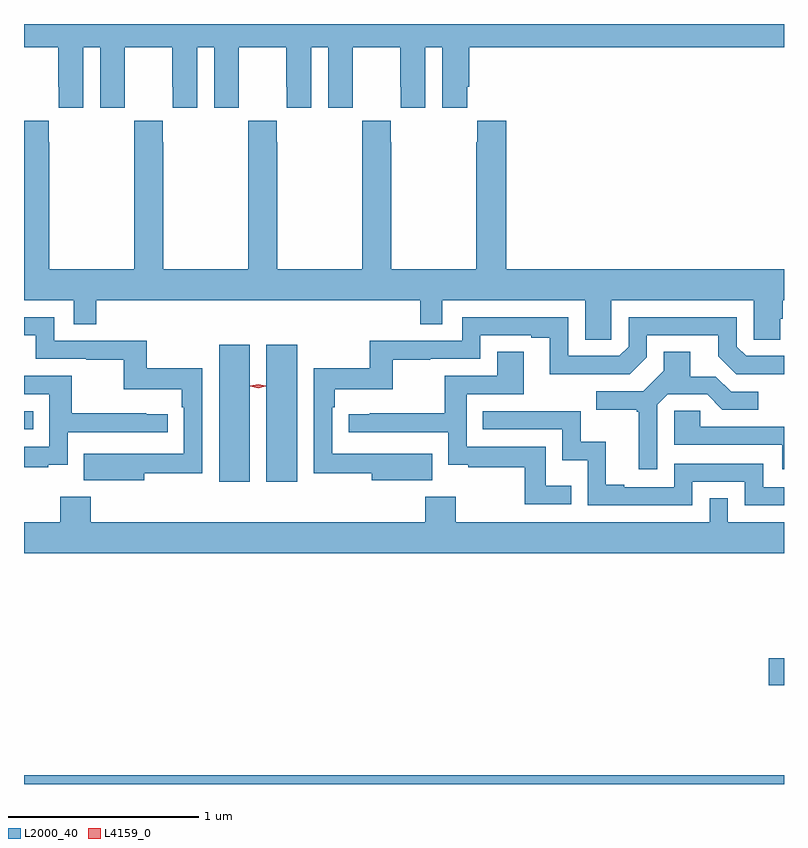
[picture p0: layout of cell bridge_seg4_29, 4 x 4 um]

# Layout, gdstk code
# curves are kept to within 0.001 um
import gdstk
lib = gdstk.Library(unit=1e-6, precision=1e-09)
def R(c, l, rs):  # rectangles x0, y0, x1, y1
    for r in rs: c.add(gdstk.rectangle(r[:2], r[2:], *l))
def P(c, l, *ps):  # polygons
    for p in ps: c.add(gdstk.Polygon(p, *l))
L2000_40 = (2000, 40)
L4159_0 = (4159, 0)

bridge_seg4_29 = lib.new_cell('bridge_seg4_29')
R(bridge_seg4_29, L2000_40, [(1070.728,748.986,1074.728,749.032), (1074.648,749.506,1074.728,749.648), (1071.755,750.576,1071.916,751.297), (1072.004,750.576,1072.165,751.297), (1070.728,750.852,1070.777,750.948)])
P(bridge_seg4_29, L2000_40, [(1071.04,752.864),(1071.128,752.864),(1071.128,752.544),(1071.258,752.544),(1071.258,752.656),(1071.259,752.656),(1071.259,752.864),(1071.509,752.864),(1071.509,752.656),(1071.51,752.656),(1071.51,752.544),(1071.64,752.544),(1071.64,752.864),(1071.728,752.864),(1071.728,752.544),(1071.858,752.544),(1071.858,752.656),(1071.859,752.656),(1071.859,752.864),(1072.109,752.864),(1072.109,752.656),(1072.11,752.656),(1072.11,752.544),(1072.24,752.544),(1072.24,752.864),(1072.328,752.864),(1072.328,752.544),(1072.458,752.544),(1072.458,752.656),(1072.459,752.656),(1072.459,752.864),(1072.709,752.864),(1072.709,752.656),(1072.71,752.656),(1072.71,752.544),(1072.84,752.544),(1072.84,752.864),(1072.928,752.864),(1072.928,752.544),(1073.062,752.544),(1073.062,752.656),(1073.072,752.656),(1073.072,752.864),(1074.728,752.864),(1074.728,752.986),(1070.728,752.986),(1070.728,752.864),(1070.909,752.864),(1070.909,752.656),(1070.91,752.656),(1070.91,752.544),(1071.04,752.544)],
  [(1070.728,752.476),(1070.728,751.532),(1070.991,751.532),(1070.991,751.405),(1071.107,751.405),(1071.107,751.532),(1072.813,751.532),(1072.813,751.405),(1072.929,751.405),(1072.929,751.532),(1073.681,751.532),(1073.681,751.324),(1073.82,751.324),(1073.82,751.532),(1074.57,751.532),(1074.57,751.324),(1074.707,751.324),(1074.707,751.434),(1074.722,751.434),(1074.722,751.532),(1074.728,751.532),(1074.728,751.696),(1073.267,751.696),(1073.267,752.476),(1073.113,752.476),(1073.113,752.363),(1073.107,752.363),(1073.107,751.696),(1072.662,751.696),(1072.662,752.363),(1072.659,752.363),(1072.659,752.476),(1072.509,752.476),(1072.509,752.363),(1072.507,752.363),(1072.507,751.696),(1072.062,751.696),(1072.062,752.363),(1072.059,752.363),(1072.059,752.476),(1071.909,752.476),(1071.909,752.363),(1071.907,752.363),(1071.907,751.696),(1071.462,751.696),(1071.462,752.363),(1071.459,752.363),(1071.459,752.476),(1071.309,752.476),(1071.309,752.363),(1071.307,752.363),(1071.307,751.696),(1070.862,751.696),(1070.862,752.363),(1070.859,752.363),(1070.859,752.476)],
  [(1072.877,750.724),(1072.35,750.723),(1072.35,750.968),(1072.364,750.968),(1072.364,751.064),(1072.669,751.064),(1072.669,751.219),(1072.865,751.219),(1072.865,751.224),(1073.13,751.224),(1073.13,751.347),(1073.399,751.347),(1073.399,751.335),(1073.495,751.335),(1073.495,751.142),(1073.916,751.143),(1074.006,751.233),(1074.006,751.347),(1074.383,751.347),(1074.383,751.237),(1074.477,751.143),(1074.728,751.143),(1074.728,751.239),(1074.528,751.239),(1074.48,751.287),(1074.48,751.443),(1073.91,751.443),(1073.91,751.287),(1073.862,751.239),(1073.592,751.239),(1073.592,751.443),(1073.034,751.443),(1073.034,751.32),(1072.548,751.32),(1072.548,751.174),(1072.254,751.174),(1072.254,750.622),(1072.559,750.622),(1072.559,750.584),(1072.877,750.584)],
  [(1071.361,750.622),(1071.666,750.622),(1071.666,751.174),(1071.373,751.174),(1071.373,751.32),(1070.886,751.32),(1070.886,751.443),(1070.728,751.443),(1070.728,751.347),(1070.79,751.347),(1070.79,751.224),(1071.055,751.224),(1071.055,751.219),(1071.252,751.219),(1071.252,751.064),(1071.557,751.064),(1071.557,750.968),(1071.57,750.968),(1071.57,750.723),(1071.257,750.723),(1071.257,750.724),(1071.043,750.724),(1071.043,750.584),(1071.361,750.584)],
  [(1073.609,750.556),(1073.475,750.556),(1073.475,750.762),(1073.058,750.762),(1073.058,751.038),(1073.359,751.038),(1073.359,751.262),(1073.219,751.262),(1073.219,751.134),(1072.942,751.134),(1072.942,750.938),(1072.549,750.938),(1072.549,750.933),(1072.437,750.933),(1072.437,750.837),(1072.962,750.837),(1072.962,750.665),(1073.065,750.665),(1073.065,750.654),(1073.364,750.654),(1073.364,750.459),(1073.609,750.459)],
  [(1074.06,750.981),(1074.117,751.038),(1074.323,751.038),(1074.404,750.957),(1074.592,750.957),(1074.592,751.05),(1074.45,751.05),(1074.37,751.13),(1074.235,751.13),(1074.235,751.262),(1074.095,751.262),(1074.095,751.16),(1073.988,751.053),(1073.739,751.053),(1073.739,750.956),(1073.952,750.956),(1073.952,750.945),(1073.963,750.945),(1073.963,750.642),(1074.06,750.642)],
  [(1070.855,750.665),(1070.958,750.665),(1070.958,750.837),(1071.484,750.837),(1071.484,750.933),(1071.371,750.933),(1071.371,750.938),(1070.978,750.938),(1070.978,751.134),(1070.728,751.134),(1070.728,751.038),(1070.862,751.038),(1070.862,750.762),(1070.728,750.762),(1070.728,750.654),(1070.855,750.654)],
  [(1074.728,750.867),(1074.287,750.867),(1074.287,750.951),(1074.15,750.951),(1074.15,750.771),(1074.719,750.771),(1074.719,750.642),(1074.728,750.642)],
  [(1074.246,750.576),(1074.522,750.576),(1074.522,750.453),(1074.728,750.453),(1074.728,750.549),(1074.618,750.549),(1074.618,750.672),(1074.15,750.672),(1074.15,750.549),(1073.887,750.549),(1073.887,750.562),(1073.791,750.562),(1073.791,750.787),(1073.658,750.787),(1073.658,750.948),(1073.143,750.948),(1073.143,750.852),(1073.562,750.852),(1073.562,750.689),(1073.694,750.689),(1073.694,750.453),(1074.246,750.453)],
  [(1074.728,750.364),(1074.432,750.364),(1074.432,750.491),(1074.336,750.491),(1074.336,750.364),(1073.001,750.364),(1073.001,750.499),(1072.841,750.499),(1072.841,750.364),(1071.08,750.364),(1071.08,750.499),(1070.92,750.499),(1070.92,750.364),(1070.728,750.364),(1070.728,750.2),(1074.728,750.2)])
P(bridge_seg4_29, L4159_0, [(1071.96,751.07),(1071.92,751.08),(1071.92,751.08),(1071.92,751.081),(1071.96,751.09),(1072,751.081),(1072,751.08),(1072,751.08)])

lib.write_gds('bridge_seg4_29.gds')
